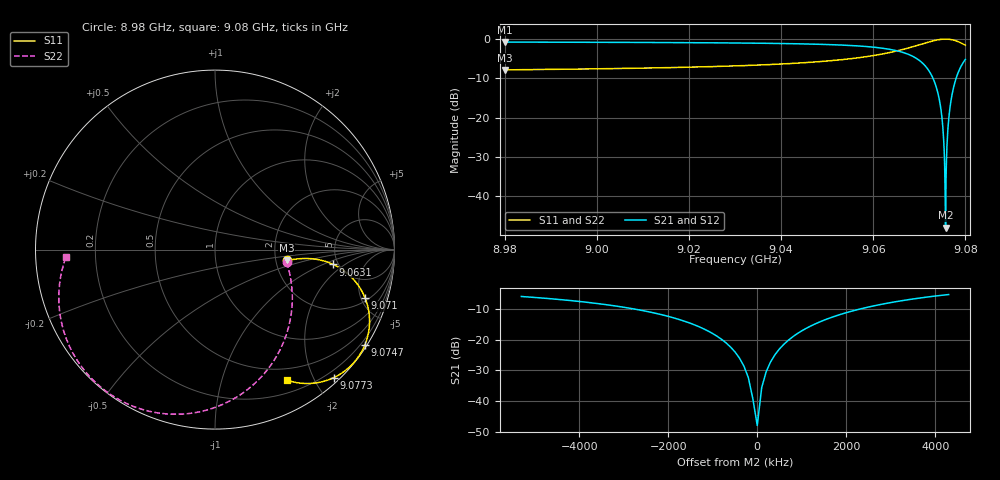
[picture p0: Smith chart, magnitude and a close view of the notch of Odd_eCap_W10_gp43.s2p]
! Sonnet Data File
! From: emgraph Version : 16.52
! From Project: Resonator2_extremeCap2
! Data is De-embedded
! Data File Written: 10/10/2017 08:27:13
!< HDATE 10/10/2017 01:06:54
!< MDATE 10/10/2017 01:06:54
!< PARAMS
!< Pwid1 = 2000.0
!< Pwid2 = 2000.0
!< Air_gap = 6.0
!< Width = 10.0
!< Gap = 43.0
!< END PARAMS
# GHZ S MA R 35.98000
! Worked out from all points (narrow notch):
!   1001 points, 8.98 GHz to 9.08 GHz, reference 35.98 ohm
!   highest |S21| = -0.78 dB at 8.98 GHz (marker M1); lowest = -48.0 dB at 9.0757 GHz (marker M2)
!   notch at M2: 47.0 dB deep, 890 kHz wide at half that depth
!   lowest |S11| = -7.9 dB at 8.98 GHz (marker M3), VSWR 2.36, Z = 82.9 - j11.9 ohm
!   |S11| at or under -10 dB: nowhere
!   |S22| runs from -7.9 to 0.0 dB; largest |S21 - S12| = 0
!   S11 on the Smith chart (normalised r, x): 8.98 GHz: 2.30, -0.33; 9.0631 GHz: 4.54, -1.34; 9.071 GHz: 2.28, -5.42; 9.0747 GHz: 0.06, -3.42; 9.0773 GHz: 0.09, -2.28; 9.08 GHz: 0.35, -1.64
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8.98  0.405 -8.5  0.9143 -99.3  0.9143 -99.3  0.405 -10.2
!< P1 F=8.98 Eeff=(5.37116343 -2.3769e-5) Z0=(35.9716001 8.05996e-5) R=0.0 C=0.0
!< P2 F=8.98 Eeff=(5.37116343 -2.3769e-5) Z0=(35.9716001 8.05996e-5) R=0.0 C=0.0
8.9967  0.415 -8.1  0.9098 -100.4  0.9098 -100.4  0.415 -12.7
9.0134  0.4299 -7.5  0.9028 -101.8  0.9028 -101.8  0.4299 -16.1
9.03  0.4549 -6.7  0.8905 -104.1  0.8905 -104.1  0.4548 -21.6
9.0467  0.5071 -5.6  0.8618 -108.7  0.8618 -108.7  0.5069 -31.8
9.0561  0.571 -5.5  0.8207 -114.0  0.8207 -114.0  0.5707 -42.6
9.0631  0.6641 -7.2  0.7471 -121.9  0.7471 -121.9  0.6636 -56.7
9.0634  0.6696 -7.3  0.7421 -122.4  0.7421 -122.4  0.6691 -57.5
9.0677  0.7709 -11.2  0.6358 -131.6  0.6358 -131.6  0.7701 -72.3
9.071  0.879 -17.9  0.4743 -143.6  0.4743 -143.6  0.8779 -89.7
9.0733  0.9572 -26.0  0.2838 -155.9  0.2838 -155.9  0.9557 -106.8
9.0741  0.9784 -29.6  0.1978 -161.0  0.1978 -161.0  0.9768 -113.9
9.0747  0.99 -32.6  0.1266 -164.9  0.1266 -164.9  0.9884 -119.6
9.075  0.9941 -34.1  0.08906 -166.6  0.08906 -166.6  0.9923 -122.6
9.0753  0.9967 -35.8  0.0504 -167.6  0.0504 -167.6  0.995 -125.6
9.0757  0.9979 -38.0  0.003979 -39.0  0.003979 -39.0  0.9961 -129.8
9.0761  0.9962 -40.3  0.05736 -0.1  0.05736 -0.1  0.9944 -134.1
9.0763  0.9943 -41.4  0.08494 -0.8  0.08494 -0.8  0.9924 -136.3
9.0766  0.9898 -43.2  0.1266 -2.7  0.1266 -2.7  0.9879 -139.6
9.0773  0.9724 -47.2  0.2237 -8.1  0.2237 -8.1  0.9705 -147.4
9.0785  0.9218 -53.9  0.3824 -17.9  0.3824 -17.9  0.9198 -161.0
9.08  0.8323 -61.0  0.5509 -29.4  0.5509 -29.4  0.8304 -177.3
